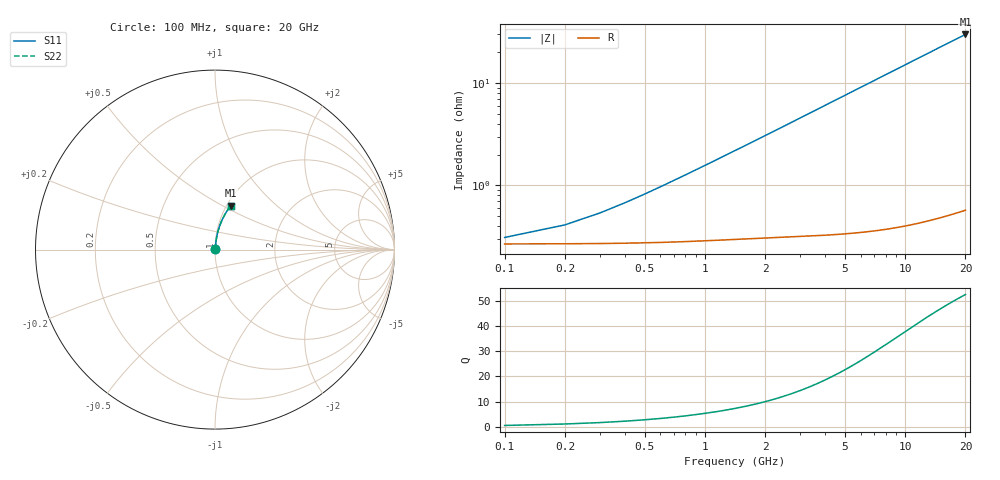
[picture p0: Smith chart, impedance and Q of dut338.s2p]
! Touchstone file exported from HFSS 2026.1.0
!  File:  C:/ffzhzh/LocalFiles/Ansys_Project_Files/temp_train_TMRDL_338_1783003756_51716.aedt
!  Generated:  10:50:36 PM Jul  2, 2026
!  Design:  TMRDL
!  Project:  temp_train_TMRDL_338_1783003756_51716
! Variables:
!  h_bsmrdl = 2um
!  h_ox = 20um
!  h_rdl = 5um
!  h_sub = 80um
!  h_tmrdl = 2.2um
!  h_tsv = 80um
!  h_via = 3um
!  l_bsmrdl = 300um
!  l_sub = 551.34um
!  l_tmrdl = 151.34um
!  m_sub = 200um
!  pitch = 58.21um
!  r_tsv = 6um
!  s_tmrdl = 10um
!  w_bsmrdl = 18um
!  w_sub = 500um
!  w_tmrdl = 10.04um
!  x_tsv_center1 = 156.36um
!  x_tsv_center2 = 474.36um
!  x_tsv_center3 = 635.74um
!  x_tsv_center4 = 953.74um
!  x_tsv_center5 = 1115.12um
!  x_tsv_center6 = 1433.12um
# GHz S MA R 50.000000
! Terminal data exported
! Port[1] = TM_RDL1_1_T1
! Port[2] = TM_RDL1_1_T2
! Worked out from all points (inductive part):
!   200 points, 100 MHz to 20 GHz, reference 50 ohm
!   read as one part in series: L = 246 pH near 600 MHz
!   highest Q = 52.5 at 20 GHz (marker M1), where L = 239 pH
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0.1  0.003019 27.6  0.9973 -0.1  0.9973 -0.1  0.003019 27.6
! Gamma 0 0 0 0
! Port Impedance 50 0 50 0
0.3  0.004996 57.0  0.9973 -0.3  0.9973 -0.3  0.004996 57.0
0.4  0.006225 63.7  0.9973 -0.4  0.9973 -0.4  0.006225 63.7
0.5  0.00751 68.1  0.9972 -0.5  0.9972 -0.5  0.00751 68.1
0.6  0.008823 71.2  0.9972 -0.6  0.9972 -0.6  0.008823 71.2
0.7  0.01015 73.4  0.9972 -0.7  0.9972 -0.7  0.01015 73.4
0.9  0.01283 76.3  0.9971 -0.9  0.9971 -0.9  0.01283 76.3
1.2  0.01687 78.9  0.9969 -1.2  0.9969 -1.2  0.01687 78.9
1.4  0.01957 80.0  0.9969 -1.3  0.9969 -1.3  0.01957 80.0
1.7  0.02361 81.1  0.9967 -1.6  0.9967 -1.6  0.02361 81.1
2.2  0.03037 82.1  0.9965 -2.1  0.9965 -2.1  0.03037 82.1
2.8  0.03848 82.7  0.9961 -2.7  0.9961 -2.7  0.03849 82.6
3.5  0.04795 82.8  0.9957 -3.3  0.9957 -3.3  0.04795 82.8
4.2  0.05741 82.7  0.9951 -4.0  0.9951 -4.0  0.05741 82.7
5  0.06821 82.4  0.9943 -4.8  0.9943 -4.8  0.06821 82.4
5.9  0.08031 81.9  0.9933 -5.6  0.9933 -5.6  0.08031 81.9
6.8  0.09236 81.3  0.9922 -6.5  0.9922 -6.5  0.09237 81.3
8.3  0.1123 80.2  0.99 -7.9  0.99 -7.9  0.1123 80.2
10.1  0.136 78.8  0.9867 -9.6  0.9867 -9.6  0.136 78.8
13.4  0.1786 76.0  0.9795 -12.6  0.9795 -12.6  0.1786 76.0
16.7  0.2198 73.1  0.9706 -15.6  0.9706 -15.6  0.2198 73.1
20  0.2595 70.3  0.9603 -18.5  0.9603 -18.5  0.2595 70.3
